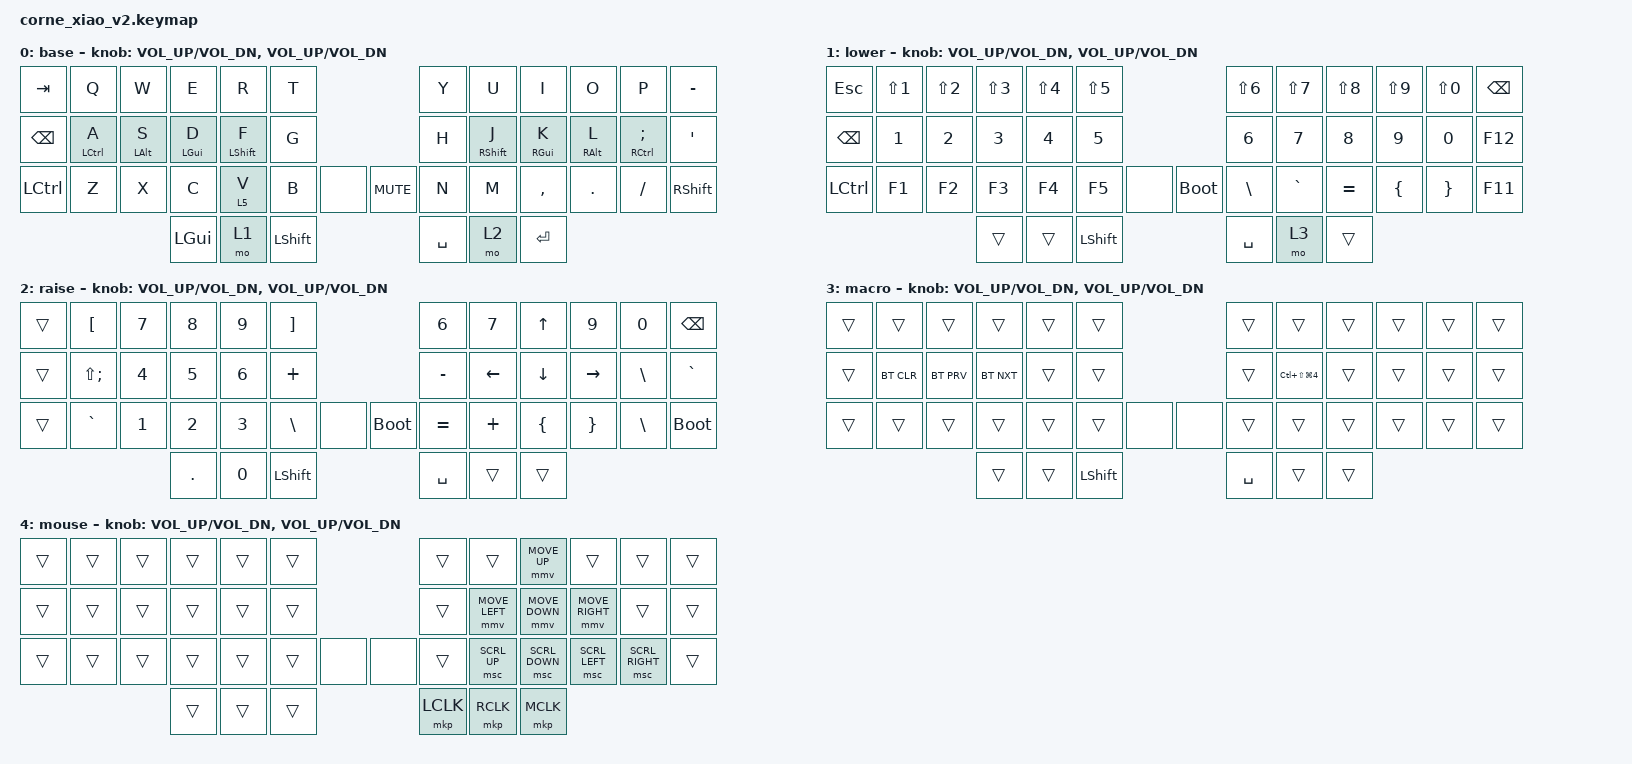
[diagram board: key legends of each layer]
#include <behaviors.dtsi>
#include <dt-bindings/zmk/keys.h>
#include <dt-bindings/zmk/bt.h>
#include <dt-bindings/zmk/mouse.h>

/ {
    behaviors {
        hm: homerow_mods {
            compatible = "zmk,behavior-hold-tap";
            #binding-cells = <2>;
            tapping-term-ms = <280>;
            quick-tap-ms = <175>;
            require-prior-idle-ms = <150>;
            flavor = "balanced";
            bindings = <&kp>, <&kp>;
        };
    };
};

/ {
    combos {
        compatible = "zmk,combos";
        combo_studio_unlock {
            timeout-ms = <50>;
            key-positions = <0 1>;
            bindings = <&studio_unlock>;
        };
    };
};

/ {
    keymap {
        compatible = "zmk,keymap";

        default_layer {
            display-name = "base";
            sensor-bindings = <&inc_dec_kp C_VOL_UP C_VOL_DN &inc_dec_kp C_VOL_UP C_VOL_DN>;

// -------------------------------------------------------------------------------------------------
// |  TAB |  Q  |  W  |  E  |  R  |  T  |                    |  Y  |  U   |  I  |  O  |  P  |  -   |
// | BKSP |  A  |  S  |  D  |  F  |  G  |                    |  H  |  J   |  K  |  L  |  ;  |  '   |
// | CTRL |  Z  |  X  |  C  |  V  |  B  |  MUTE  |  |        |  N  |  M   |  ,  |  .  |  /  | SHFT |
//                    | GUI | LWR | SHFT |                   | SPC | RSE  | RET |
            bindings = <
&kp TAB   &kp Q &kp W &kp E    &kp R &kp T                      &kp Y     &kp U &kp I     &kp O   &kp P    &kp MINUS
&kp BSPC  &hm LCTRL A &hm LALT S &hm LGUI D &hm LSHFT F &kp G   &kp H  &hm RSHFT J &hm RGUI K &hm RALT L &hm RCTRL SEMI &kp SQT
&kp LCTRL &kp Z &kp X &kp C    &lt 5 V &kp B  &none &kp C_MUTE &kp N     &kp M &kp COMMA &kp DOT &kp FSLH &kp RSHFT
                      &kp LGUI &mo 1 &kp LSHFT                   &kp SPACE &mo 2 &kp RET
            >;
        };

        lower_layer {
            display-name = "lower";
            sensor-bindings = <&inc_dec_kp C_VOL_UP C_VOL_DN &inc_dec_kp C_VOL_UP C_VOL_DN>;

// ------------------------------------------------------------------------------------------------
// |  ESC |  !  |  @  |  #  |  $  |  %  |                    |  ^  |  &  |  *  |  (  |  )  | BKSP |
// | BKSP |  1  |  2  |  3  |  4  |  5  |                    |  6  |  7  |  8  |  9  |  0  | F12  |
// | CTRL | F1  | F2  | F3  | F4  | F5  |        |  | boot  |  \  |  `  |  =  |  {  |  }  | F11  |
//                    | GUI | LWR | SHFT |                  | SPC | MAC | RET |
            bindings = <
&kp ESC    &kp LS(N1) &kp LS(N2) &kp LS(N3) &kp LS(N4) &kp LS(N5)                    &kp LS(N6) &kp LS(N7) &kp LS(N8) &kp LS(N9) &kp LS(N0) &kp BSPC
&kp BSPC   &kp N1     &kp N2     &kp N3     &kp N4     &kp N5                          &kp N6     &kp N7     &kp N8     &kp N9     &kp N0     &kp F12
&kp LCTRL  &kp F1     &kp F2     &kp F3     &kp F4     &kp F5     &none &bootloader   &kp BSLH   &kp GRAVE  &kp EQUAL  &kp LBRC   &kp RBRC   &kp F11
                                 &trans     &trans     &kp LSHFT                       &kp SPACE  &mo 3      &trans
            >;
        };

        raise_layer {
            display-name = "raise";
            sensor-bindings = <&inc_dec_kp C_VOL_UP C_VOL_DN &inc_dec_kp C_VOL_UP C_VOL_DN>;

// ------------------------------------------------------------------------------------------------
// |      |  [  |  7  |  8  |  9  |  ]  |                    |  6  |  7  |  UP |  9  |  0  | BKSP |
// |      |  :  |  4  |  5  |  6  |  +  |                    |  -  | LFT | DWN | RGT |  \  |  `   |
// |      |  `  |  1  |  2  |  3  |  \  |        |  | boot  |  =  |  +  |  {  |  }  |  \  | boot |
//                    |  .  |  0  | SHFT|                   | SPC | RSE | RET |
            bindings = <
&trans     &kp LBKT     &kp N7  &kp N8  &kp N9  &kp RBKT                       &kp N6    &kp N7   &kp UP   &kp N9    &kp N0   &kp BSPC
&trans     &kp LS(SEMI) &kp N4  &kp N5  &kp N6  &kp PLUS                       &kp MINUS &kp LEFT &kp DOWN &kp RIGHT &kp BSLH &kp GRAVE
&trans     &kp GRAVE    &kp N1  &kp N2  &kp N3  &kp BSLH  &none &bootloader   &kp EQUAL &kp PLUS &kp LBRC &kp RBRC  &kp BSLH &bootloader
                                &kp DOT &kp N0  &kp LSHFT                     &kp SPACE &trans   &trans
            >;
        };

        macro_layer {
            display-name = "macro";
            sensor-bindings = <&inc_dec_kp C_VOL_UP C_VOL_DN &inc_dec_kp C_VOL_UP C_VOL_DN>;

// ------------------------------------------------------------------------------------------------
// |      |     |     |     |     |     |                    |     |     |     |     |     |      |
// |      |BCLR |BPRV |BNXT |     |     |                    |     | M4  |     |     |     |      |
// |      |     |     |     |     |     |        |  |        |     |     |     |     |     |      |
//                    |     |     |     |                    |     |     |     |
            bindings = <
&trans &trans     &trans     &trans     &trans &trans                 &trans &trans                &trans &trans &trans &trans
&trans &bt BT_CLR &bt BT_PRV &bt BT_NXT &trans &trans                 &trans &kp LC(LS(LG(N4)))   &trans &trans &trans &trans
&trans &trans     &trans     &trans     &trans &trans &none &none     &trans &trans                &trans &trans &trans &trans
                             &trans     &trans &kp LSHFT             &kp SPACE &trans            &trans
            >;
        };

        extra2 {
            display-name = "extra2";
            status = "reserved";
        };

        mouse_layer {
            display-name = "mouse";
            sensor-bindings = <&inc_dec_kp C_VOL_UP C_VOL_DN &inc_dec_kp C_VOL_UP C_VOL_DN>;

// ------------------------------------------------------------------------------------------------
// |      |     |     |     |     |     |                    |     |     |  ^  |     |     |      |
// |      |     |     |     |     |     |                    |     |  <- |  v  |  -> |     |      |
// |      |     |     |     |     |     |        |  |        |     | SCU | SCD | SCL | SCR |      |
//                    |     |     |     |                    | LCLK| RCLK| MCLK|
            bindings = <
&trans &trans &trans &trans &trans &trans                   &trans           &trans          &mmv MOVE_UP   &trans          &trans &trans
&trans &trans &trans &trans &trans &trans                   &trans           &mmv MOVE_LEFT  &mmv MOVE_DOWN &mmv MOVE_RIGHT &trans &trans
&trans &trans &trans &trans &trans &trans &none &none       &trans &msc SCRL_UP &msc SCRL_DOWN &msc SCRL_LEFT &msc SCRL_RIGHT &trans
                     &trans &trans &trans                   &mkp LCLK &mkp RCLK  &mkp MCLK
            >;
        };
    };
};
